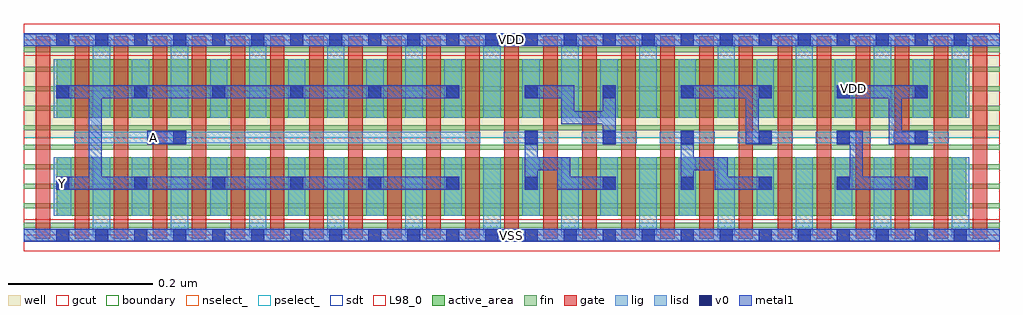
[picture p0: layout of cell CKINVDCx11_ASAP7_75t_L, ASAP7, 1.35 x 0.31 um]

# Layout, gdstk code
import gdstk
lib = gdstk.Library(unit=1e-6, precision=2.5e-10)
def R(c, l, rs):  # rectangles x0, y0, x1, y1
    for r in rs: c.add(gdstk.rectangle(r[:2], r[2:], *l))
def A(c, l, x, y, w, h, nx, ny, dx, dy):  # array of equal rectangles
    R(c, l, [(x+i*dx, y+j*dy, x+i*dx+w, y+j*dy+h) for i in range(nx) for j in range(ny)])
def P(c, l, *ps):  # polygons
    for p in ps: c.add(gdstk.Polygon(p, *l))
well = (1, 0)
fin = (2, 0)
gate = (7, 0)
gcut = (10, 0)
active_area = (11, 0)
nselect_ = (12, 0)
pselect_ = (13, 0)
lig = (16, 0)
lisd = (17, 0)
v0 = (18, 0)
metal1 = (19, 0)
sdt = (88, 0)
L98_0 = (98, 0)
boundary = (100, 0)

ckinvdcx11_asap7_75t_l = lib.new_cell('CKINVDCx11_ASAP7_75t_L')
R(ckinvdcx11_asap7_75t_l, well, [(0,0.135,1.35,0.27)])
A(ckinvdcx11_asap7_75t_l, fin, 0, 0.01, 1.35, 0.007, 1, 10, 0, 0.027)
A(ckinvdcx11_asap7_75t_l, gate, 0.017, -0.005, 0.02, 0.28, 25, 1, 0.054, 0)
R(ckinvdcx11_asap7_75t_l, gcut, [(0,-0.022,1.35,0.022), (0,0.248,1.35,0.292)])
R(ckinvdcx11_asap7_75t_l, active_area, [(0.046,0.027,1.304,0.108), (0.046,0.162,1.304,0.243)])
R(ckinvdcx11_asap7_75t_l, nselect_, [(0,0,1.35,0.135)])
R(ckinvdcx11_asap7_75t_l, pselect_, [(0,0.135,1.35,0.27)])
A(ckinvdcx11_asap7_75t_l, lig, 0.664, 0.127, 0.076, 0.016, 6, 1, 0.108, 0)
R(ckinvdcx11_asap7_75t_l, lig, [(0,-0.008,1.35,0.008), (0.07,0.127,0.632,0.143), (0,0.262,1.35,0.278)])
A(ckinvdcx11_asap7_75t_l, lisd, 0.096, 0, 0.024, 0.108, 12, 2, 0.108, 0.162)
A(ckinvdcx11_asap7_75t_l, lisd, 0.042, 0.027, 0.024, 0.081, 12, 2, 0.108, 0.135)
A(ckinvdcx11_asap7_75t_l, v0, 0.045, -0.009, 0.018, 0.018, 24, 2, 0.054, 0.27)
A(ckinvdcx11_asap7_75t_l, v0, 0.045, 0.063, 0.018, 0.018, 12, 2, 0.108, 0.126)
A(ckinvdcx11_asap7_75t_l, v0, 0.693, 0.126, 0.018, 0.018, 6, 1, 0.108, 0)
R(ckinvdcx11_asap7_75t_l, v0, [(0.207,0.126,0.225,0.144)])
R(ckinvdcx11_asap7_75t_l, metal1, [(0,-0.009,1.35,0.009), (0.171,0.126,0.225,0.144), (0,0.261,1.35,0.279)])
P(ckinvdcx11_asap7_75t_l, metal1, [(1.251,0.081),(1.161,0.081),(1.161,0.144),(1.125,0.144),(1.125,0.126),(1.143,0.126),(1.143,0.081),(1.125,0.081),(1.125,0.063),(1.251,0.063)],
  [(0.927,0.09),(0.956,0.09),(0.956,0.063),(1.035,0.063),(1.035,0.081),(0.974,0.081),(0.974,0.108),(0.927,0.108),(0.927,0.144),(0.909,0.144),(0.909,0.063),(0.927,0.063)],
  [(0.711,0.09),(0.738,0.09),(0.738,0.063),(0.819,0.063),(0.819,0.081),(0.756,0.081),(0.756,0.108),(0.711,0.108),(0.711,0.144),(0.693,0.144),(0.693,0.063),(0.711,0.063)],
  [(1.251,0.207),(1.125,0.207),(1.125,0.189),(1.197,0.189),(1.197,0.126),(1.251,0.126),(1.251,0.144),(1.215,0.144),(1.215,0.189),(1.251,0.189)],
  [(1.035,0.144),(1.017,0.144),(1.017,0.189),(1.035,0.189),(1.035,0.207),(0.909,0.207),(0.909,0.189),(0.999,0.189),(0.999,0.126),(1.035,0.126)],
  [(0.819,0.207),(0.801,0.207),(0.801,0.171),(0.762,0.171),(0.762,0.207),(0.693,0.207),(0.693,0.189),(0.744,0.189),(0.744,0.153),(0.801,0.153),(0.801,0.126),(0.819,0.126)],
  [(0.603,0.081),(0.108,0.081),(0.108,0.189),(0.603,0.189),(0.603,0.207),(0.045,0.207),(0.045,0.189),(0.09,0.189),(0.09,0.081),(0.045,0.081),(0.045,0.063),(0.603,0.063)])
A(ckinvdcx11_asap7_75t_l, sdt, 0.042, 0.027, 0.024, 0.081, 24, 2, 0.054, 0.135)
R(ckinvdcx11_asap7_75t_l, L98_0, [(0,0,1.35,0.27)])
R(ckinvdcx11_asap7_75t_l, boundary, [(0,0,1.35,0.27)])
ckinvdcx11_asap7_75t_l.add(gdstk.Label('Y', (0.054,0.072), layer=19, texttype=251))
ckinvdcx11_asap7_75t_l.add(gdstk.Label('A', (0.18,0.135), layer=19, texttype=251))
ckinvdcx11_asap7_75t_l.add(gdstk.Label('VSS', (0.675,0), layer=19, texttype=251))
ckinvdcx11_asap7_75t_l.add(gdstk.Label('VDD', (0.675,0.27), layer=19, texttype=251))
ckinvdcx11_asap7_75t_l.add(gdstk.Label('VDD', (1.1475,0.2025), layer=1, texttype=251))
ckinvdcx11_asap7_75t_l.add(gdstk.Label('VSS', (1.5525,0.2025), layer=3, texttype=251))

lib.write_gds('CKINVDCx11_ASAP7_75t_L.gds')
